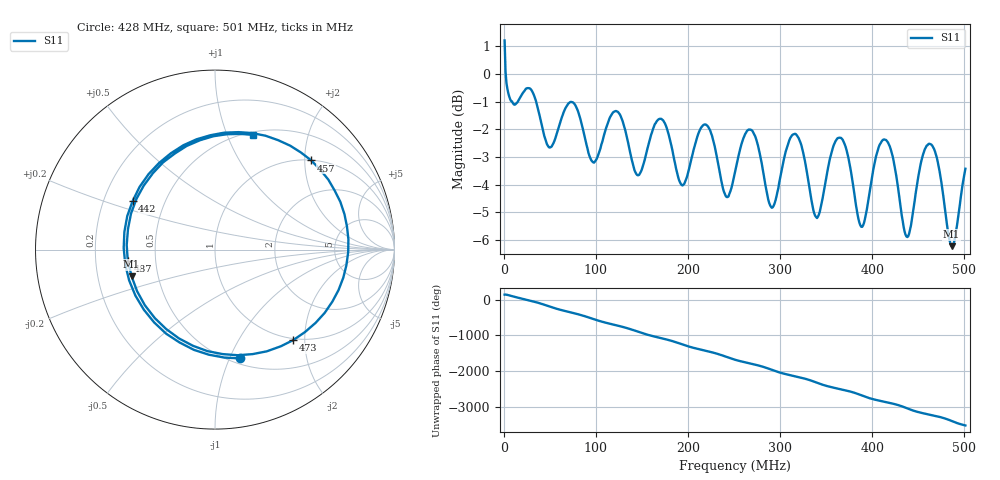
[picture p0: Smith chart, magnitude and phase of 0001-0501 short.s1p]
! NanoVNA-App by SYSJOINT et al v1.1.209 (+OD18)
! Date: 2025-09-17 10:01:50
! Start: 1MHz Stop: 501MHz Points: 501
! S-Parameter data: F S11
# Hz S RI R 50
!  Frequency  S11_Real  S11_Imag
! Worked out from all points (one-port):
!   501 points, 1 MHz to 501 MHz, reference 50 ohm
!   lowest |S11| = -6.2 dB at 486 MHz (marker M1), VSWR 2.91, Z = 17.6 - j6.89 ohm
!   |S11| at or under -10 dB: nowhere
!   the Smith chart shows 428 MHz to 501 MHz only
!   S11 on the Smith chart (normalised r, x): 428 MHz: 0.55, -1.09; 442 MHz: 0.33, +0.25; 457 MHz: 1.01, +2.15; 473 MHz: 0.97, -1.76; 487 MHz: 0.34, -0.06; 501 MHz: 0.53, +1.24
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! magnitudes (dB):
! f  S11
! 1 MHz  1.2
! 8 MHz  -1.0
! 49 MHz  -2.7
! 64 MHz  -1.5
! 98 MHz  -3.2
! 126 MHz  -1.5
! 144 MHz  -3.6
! 170 MHz  -1.6
! 189 MHz  -3.7
! 218 MHz  -1.8
! 241 MHz  -4.4
! 251 MHz  -3.5
! 269 MHz  -2.0
! 292 MHz  -4.8
! 314 MHz  -2.2
! 339 MHz  -5.2
! 361 MHz  -2.4
! 376 MHz  -3.4
! 388 MHz  -5.5
! 411 MHz  -2.4
! 428 MHz  -4.1
! 439 MHz  -5.9
! 442 MHz  -5.5
! 457 MHz  -2.7
! 473 MHz  -3.5
! 486 MHz  -6.2
! 487 MHz  -6.2
! 501 MHz  -3.4
